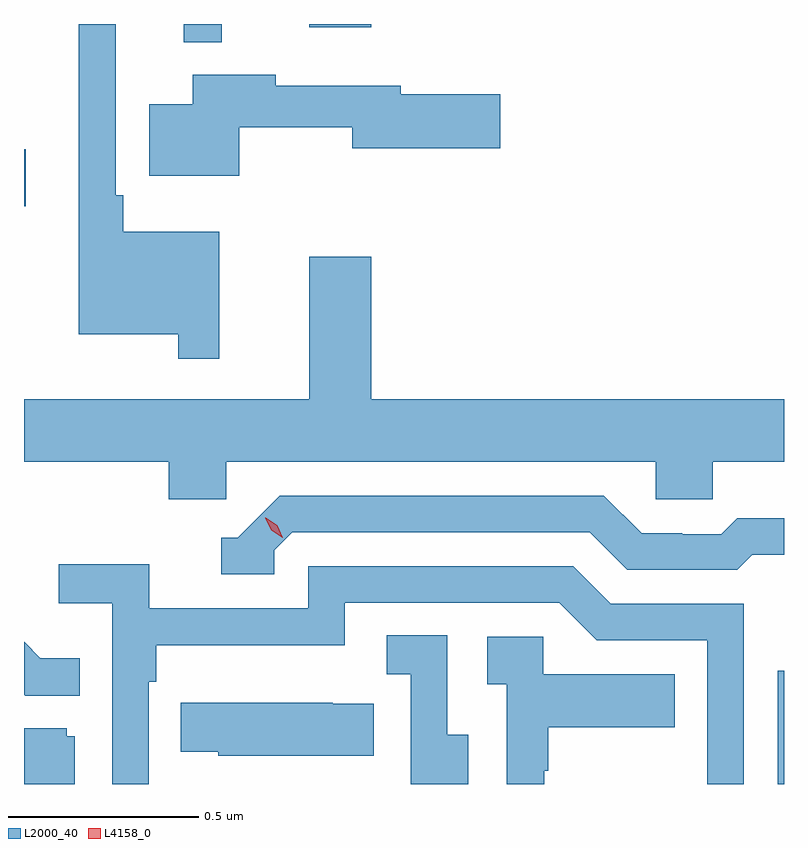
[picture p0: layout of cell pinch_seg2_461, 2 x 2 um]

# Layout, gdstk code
import gdstk
lib = gdstk.Library(unit=1e-6, precision=1e-09)
def R(c, l, rs):  # rectangles x0, y0, x1, y1
    for r in rs: c.add(gdstk.rectangle(r[:2], r[2:], *l))
def P(c, l, *ps):  # polygons
    for p in ps: c.add(gdstk.Polygon(p, *l))
L2000_40 = (2000, 40)
L4158_0 = (4158, 0)

pinch_seg2_461 = lib.new_cell('pinch_seg2_461')
R(pinch_seg2_461, L2000_40, [(909.498,606.828,909.514,607.126), (907.514,608.349,907.519,608.499), (907.934,608.78,908.034,608.828), (908.264,608.82,908.428,608.828)])
P(pinch_seg2_461, L2000_40, [(908.028,608.281),(907.775,608.281),(907.775,608.377),(907.755,608.377),(907.755,608.828),(907.658,608.828),(907.658,608.012),(907.92,608.012),(907.92,607.947),(908.028,607.947)],
  [(908.08,608.556),(908.378,608.556),(908.378,608.501),(908.767,608.501),(908.767,608.643),(908.506,608.643),(908.506,608.665),(908.176,608.665),(908.176,608.695),(907.958,608.695),(907.958,608.617),(907.844,608.617),(907.844,608.429),(908.08,608.429)],
  [(908.046,607.676),(909.177,607.676),(909.177,607.578),(909.327,607.578),(909.327,607.676),(909.514,607.676),(909.514,607.84),(908.428,607.84),(908.428,608.215),(908.264,608.215),(908.264,607.84),(907.514,607.84),(907.514,607.676),(907.895,607.676),(907.895,607.578),(908.046,607.578)],
  [(908.172,607.443),(908.22,607.491),(909.003,607.491),(909.102,607.392),(909.391,607.392),(909.43,607.431),(909.514,607.431),(909.514,607.528),(909.391,607.528),(909.349,607.485),(909.246,607.485),(909.246,607.488),(909.139,607.488),(909.04,607.587),(908.187,607.587),(908.076,607.476),(908.033,607.476),(908.033,607.38),(908.172,607.38)],
  [(907.842,607.097),(907.862,607.097),(907.862,607.193),(908.358,607.193),(908.358,607.305),(908.922,607.305),(909.021,607.206),(909.312,607.206),(909.312,606.828),(909.408,606.828),(909.408,607.302),(909.058,607.302),(908.959,607.401),(908.262,607.401),(908.262,607.29),(907.844,607.29),(907.844,607.406),(907.605,607.406),(907.605,607.304),(907.746,607.304),(907.746,606.828),(907.842,606.828)],
  [(908.683,606.957),(908.628,606.957),(908.628,607.22),(908.469,607.22),(908.469,607.117),(908.532,607.117),(908.532,606.828),(908.683,606.828)],
  [(908.883,606.863),(908.893,606.863),(908.893,606.977),(909.227,606.977),(909.227,607.117),(908.88,607.117),(908.88,607.215),(908.733,607.215),(908.733,607.091),(908.784,607.091),(908.784,606.828),(908.883,606.828)],
  [(907.661,607.159),(907.557,607.159),(907.514,607.202),(907.514,607.063),(907.517,607.06),(907.661,607.06)],
  [(908.435,607.039),(908.327,607.039),(908.327,607.042),(907.927,607.042),(907.927,606.913),(908.025,606.913),(908.025,606.902),(908.435,606.902)],
  [(907.648,606.954),(907.626,606.954),(907.626,606.975),(907.514,606.975),(907.514,606.828),(907.648,606.828)])
P(pinch_seg2_461, L4158_0, [(908.195,607.476),(908.165,607.496),(908.149,607.529),(908.149,607.529),(908.15,607.529),(908.18,607.509),(908.195,607.476),(908.195,607.476)])

lib.write_gds('pinch_seg2_461.gds')
